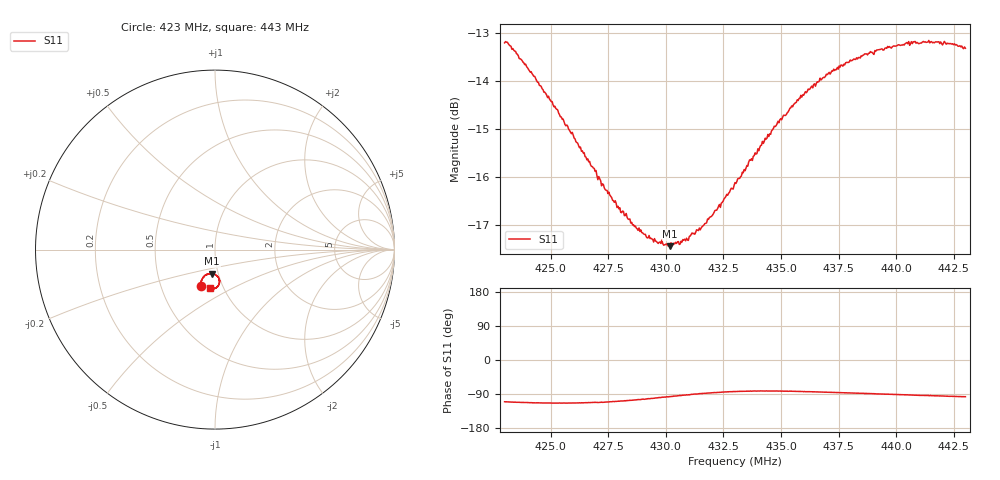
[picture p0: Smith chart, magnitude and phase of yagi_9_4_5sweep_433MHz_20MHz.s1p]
# HZ S RI R 50
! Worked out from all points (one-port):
!   505 points, 423 MHz to 443 MHz, reference 50 ohm
!   lowest |S11| = -17.4 dB at 430.18 MHz (marker M1), VSWR 1.31, Z = 46.8 - j12.7 ohm
!   |S11| at or under -10 dB: start of sweep to end of sweep
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4.23e8  -0.0755 -0.2054
4.231984e8  -0.0771 -0.2036
4.242302e8  -0.079 -0.1865
4.255e8  -0.0734 -0.1667
4.265715e8  -0.0639 -0.1523
4.268889e8  -0.0599 -0.1504
4.272858e8  -0.0571 -0.1448
4.280001e8  -0.0471 -0.1395
4.283572e8  -0.0411 -0.1372
4.285556e8  -0.0396 -0.1356
4.291509e8  -0.031 -0.1337
4.296271e8  -0.0236 -0.1334
4.301826e8  -0.0158 -0.1333
4.305001e8  -0.0107 -0.1352
4.309366e8  -0.00535 -0.1361
4.315715e8  0.00449 -0.1406
4.322858e8  0.011 -0.1473
4.330001e8  0.0182 -0.1553
4.342303e8  0.0244 -0.1701
4.349049e8  0.0255 -0.1788
4.355001e8  0.0242 -0.1861
4.362541e8  0.0217 -0.1947
4.370081e8  0.0171 -0.202
4.380002e8  0.0118 -0.2097
4.39151e8  0.0024 -0.2151
4.405002e8  -0.00779 -0.2182
4.417701e8  -0.017 -0.2186
4.430002e8  -0.0259 -0.2145
